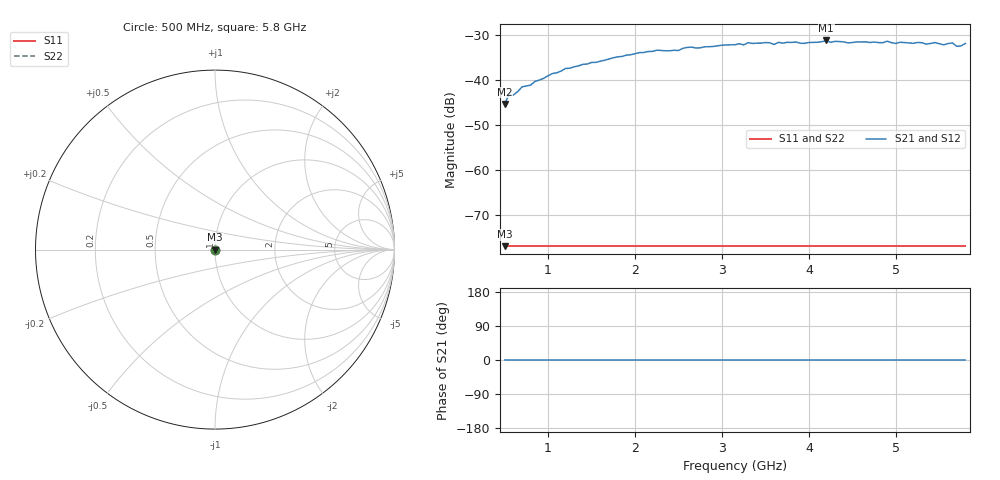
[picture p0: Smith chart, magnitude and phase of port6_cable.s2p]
# GHZ S RI R 50
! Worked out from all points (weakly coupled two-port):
!   107 points, 500 MHz to 5.8 GHz, reference 50 ohm
!   highest |S21| = -31.17 dB at 4.2 GHz (marker M1); lowest = -45.3 dB at 500 MHz (marker M2)
!   lowest |S11| = -77.0 dB at 500 MHz (marker M3), VSWR 1.00, Z = 50 + j0.01 ohm
!   |S11| at or under -10 dB: start of sweep to end of sweep
!   |S22| runs from -77.0 to -77.0 dB; largest |S21 - S12| = 0
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0.5  0.0001 0.0001  0.00541 0  0.00541 0  0.0001 0.0001
0.55  0.0001 0.0001  0.00691 0  0.00691 0  0.0001 0.0001
0.6  0.0001 0.0001  0.00681 0  0.00681 0  0.0001 0.0001
0.7  0.0001 0.0001  0.0084 0  0.0084 0  0.0001 0.0001
0.8  0.0001 0.0001  0.0088 0  0.0088 0  0.0001 0.0001
0.85  0.0001 0.0001  0.00969 0  0.00969 0  0.0001 0.0001
1.2  0.0001 0.0001  0.0135 0  0.0135 0  0.0001 0.0001
1.4  0.0001 0.0001  0.015 0  0.015 0  0.0001 0.0001
2.05  0.0001 0.0001  0.0202 0  0.0202 0  0.0001 0.0001
2.3  0.0001 0.0001  0.0214 0  0.0214 0  0.0001 0.0001
3.15  0.0001 0.0001  0.0248 0  0.0248 0  0.0001 0.0001
3.3  0.0001 0.0001  0.0261 0  0.0261 0  0.0001 0.0001
3.6  0.0001 0.0001  0.025 0  0.025 0  0.0001 0.0001
4.05  0.0001 0.0001  0.0263 0  0.0263 0  0.0001 0.0001
4.2  0.0001 0.0001  0.0277 0  0.0277 0  0.0001 0.0001
4.25  0.0001 0.0001  0.0263 0  0.0263 0  0.0001 0.0001
4.95  0.0001 0.0001  0.0261 0  0.0261 0  0.0001 0.0001
5.45  0.0001 0.0001  0.0262 0  0.0262 0  0.0001 0.0001
5.55  0.0001 0.0001  0.0247 0  0.0247 0  0.0001 0.0001
5.65  0.0001 0.0001  0.026 0  0.026 0  0.0001 0.0001
5.7  0.0001 0.0001  0.0238 0  0.0238 0  0.0001 0.0001
5.8  0.0001 0.0001  0.0256 0  0.0256 0  0.0001 0.0001
